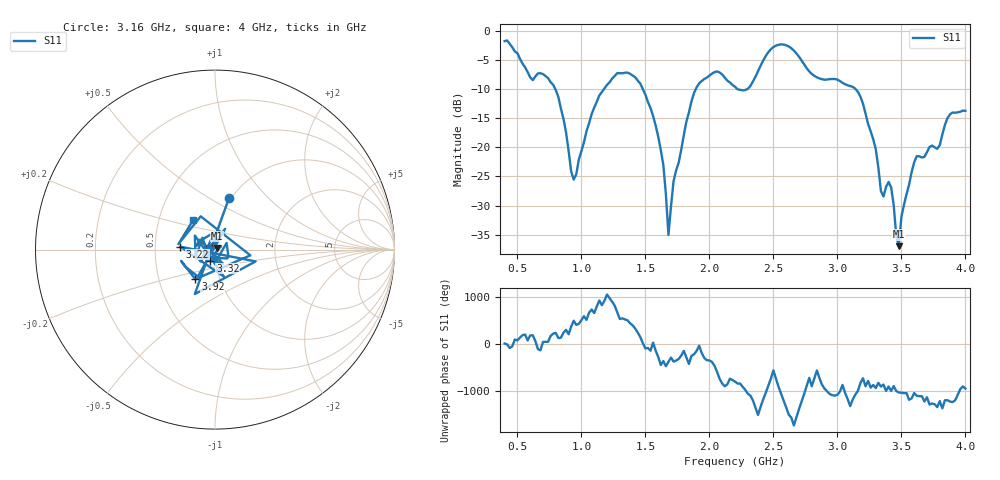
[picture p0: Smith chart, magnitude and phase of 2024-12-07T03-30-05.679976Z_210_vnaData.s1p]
!Created with skrf (http://scikit-rf.org).
# Hz S RI R 50.0
!freq ReS11 ImS11
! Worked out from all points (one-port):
!   181 points, 400 MHz to 4 GHz, reference 50 ohm
!   lowest |S11| = -37.0 dB at 3.48 GHz (marker M1), VSWR 1.03, Z = 51 + j0.994 ohm
!   |S11| at or under -10 dB: 795.8 MHz to 1.176 GHz (380 MHz wide, 38.6 % of centre); 1.48 GHz to 1.894 GHz (414.4 MHz wide, 24.6 % of centre); 3.142 GHz to end of sweep (the widest 3 of 4)
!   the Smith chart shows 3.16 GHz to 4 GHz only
!   S11 on the Smith chart (normalised r, x): 3.16 GHz: 0.98, +0.62; 3.22 GHz: 0.68, +0.02; 3.32 GHz: 0.94, -0.12; 3.92 GHz: 0.76, -0.26; 4 GHz: 0.75, +0.26
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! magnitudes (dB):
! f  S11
! 400 MHz  -1.8
! 780 MHz  -9.3
! 860 MHz  -15.1
! 940 MHz  -25.5
! 1.14 GHz  -11.1
! 1.3 GHz  -7.3
! 1.46 GHz  -9.1
! 1.56 GHz  -14.6
! 1.64 GHz  -23.0
! 1.68 GHz  -35.0
! 1.72 GHz  -25.8
! 1.76 GHz  -22.7
! 1.92 GHz  -9.0
! 2.2 GHz  -9.6
! 2.5 GHz  -2.8
! 2.66 GHz  -3.4
! 3.1 GHz  -9.5
! 3.16 GHz  -10.5
! 3.22 GHz  -14.2
! 3.32 GHz  -23.5
! 3.36 GHz  -28.4
! 3.42 GHz  -26.9
! 3.48 GHz  -37.0
! 3.56 GHz  -26.4
! 3.62 GHz  -21.5
! 3.78 GHz  -20.3
! 3.92 GHz  -14.1
! 4 GHz  -13.7
